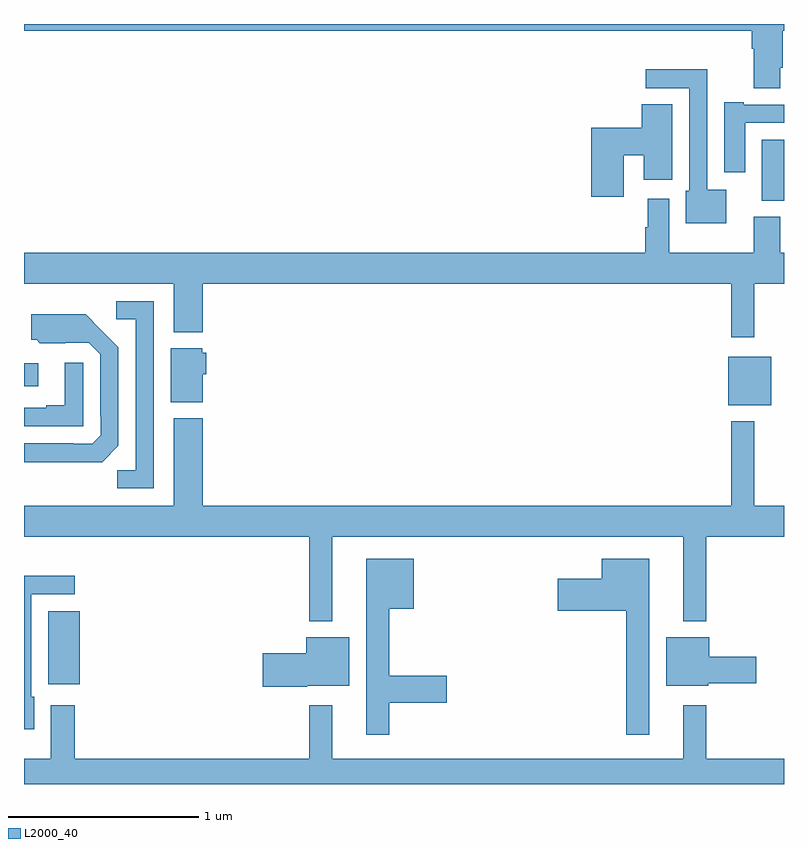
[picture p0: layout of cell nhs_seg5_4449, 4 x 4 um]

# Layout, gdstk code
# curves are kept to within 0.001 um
import gdstk
lib = gdstk.Library(unit=1e-6, precision=1e-09)
def R(c, l, rs):  # rectangles x0, y0, x1, y1
    for r in rs: c.add(gdstk.rectangle(r[:2], r[2:], *l))
def P(c, l, *ps):  # polygons
    for p in ps: c.add(gdstk.Polygon(p, *l))
L2000_40 = (2000, 40)

nhs_seg5_4449 = lib.new_cell('nhs_seg5_4449')
R(nhs_seg5_4449, L2000_40, [(373.127,849.323,373.294,849.709), (376.706,850.793,376.933,851.047), (373,850.892,373.075,851.013), (376.883,851.87,377,852.19)])
P(nhs_seg5_4449, L2000_40, [(376.981,852.568),(376.994,852.568),(376.994,852.764),(377,852.764),(377,852.799),(373,852.799),(373,852.764),(376.829,852.764),(376.829,852.668),(376.841,852.668),(376.841,852.46),(376.981,852.46)],
  [(376.696,851.926),(376.596,851.926),(376.596,852.56),(376.272,852.56),(376.272,852.462),(376.5,852.462),(376.5,851.922),(376.484,851.922),(376.484,851.75),(376.696,851.75)],
  [(376.795,852.279),(377,852.279),(377,852.375),(376.789,852.375),(376.789,852.388),(376.685,852.388),(376.685,852.018),(376.795,852.018)],
  [(376.156,852.107),(376.262,852.107),(376.262,851.979),(376.411,851.979),(376.411,852.377),(376.25,852.377),(376.25,852.254),(375.986,852.254),(375.986,851.889),(376.156,851.889)],
  [(376.843,851.432),(377,851.432),(377,851.596),(376.981,851.596),(376.981,851.785),(376.841,851.785),(376.841,851.596),(376.396,851.596),(376.396,851.878),(376.283,851.878),(376.283,851.729),(376.271,851.729),(376.271,851.596),(373,851.596),(373,851.432),(373.787,851.432),(373.787,851.177),(373.94,851.177),(373.94,851.432),(376.722,851.432),(376.722,851.151),(376.843,851.151)],
  [(373.683,851.34),(373.485,851.34),(373.485,851.244),(373.587,851.244),(373.587,850.451),(373.491,850.451),(373.491,850.356),(373.683,850.356)],
  [(373.497,850.578),(373.497,851.098),(373.325,851.272),(373.037,851.272),(373.037,851.136),(373.068,851.136),(373.084,851.12),(373.341,851.121),(373.401,851.061),(373.401,850.735),(373.404,850.735),(373.404,850.635),(373.359,850.59),(373.259,850.59),(373.259,850.593),(373,850.593),(373,850.492),(373.411,850.492)],
  [(373.942,850.956),(373.96,850.956),(373.96,851.07),(373.938,851.07),(373.938,851.092),(373.772,851.092),(373.772,850.808),(373.942,850.808)],
  [(373.311,851.017),(373.214,851.017),(373.214,850.792),(373.118,850.792),(373.118,850.779),(373,850.779),(373,850.683),(373.311,850.683)],
  [(374.623,850.1),(376.469,850.1),(376.469,849.656),(376.591,849.656),(376.591,850.1),(377,850.1),(377,850.264),(376.843,850.264),(376.843,850.708),(376.722,850.708),(376.722,850.264),(373.94,850.264),(373.94,850.723),(373.787,850.723),(373.787,850.264),(373,850.264),(373,850.1),(374.502,850.1),(374.502,849.656),(374.623,849.656)],
  [(374.923,849.226),(375.226,849.226),(375.226,849.368),(374.923,849.368),(374.923,849.722),(375.052,849.722),(375.052,849.985),(374.801,849.985),(374.801,849.057),(374.923,849.057)],
  [(376.291,849.985),(376.04,849.985),(376.04,849.88),(375.81,849.88),(375.81,849.71),(376.17,849.71),(376.17,849.057),(376.291,849.057)],
  [(373.054,849.258),(373.038,849.258),(373.038,849.798),(373.267,849.798),(373.267,849.896),(373,849.896),(373,849.086),(373.054,849.086)],
  [(376.602,849.328),(376.855,849.328),(376.855,849.47),(376.606,849.47),(376.606,849.571),(376.379,849.571),(376.379,849.317),(376.602,849.317)],
  [(374.49,849.317),(374.713,849.317),(374.713,849.571),(374.486,849.571),(374.486,849.488),(374.256,849.488),(374.256,849.31),(374.49,849.31)],
  [(377,848.932),(376.591,848.932),(376.591,849.214),(376.469,849.214),(376.469,848.932),(374.623,848.932),(374.623,849.214),(374.502,849.214),(374.502,848.932),(373.268,848.932),(373.268,849.214),(373.142,849.214),(373.142,848.932),(373,848.932),(373,848.799),(377,848.799)])

lib.write_gds('nhs_seg5_4449.gds')
